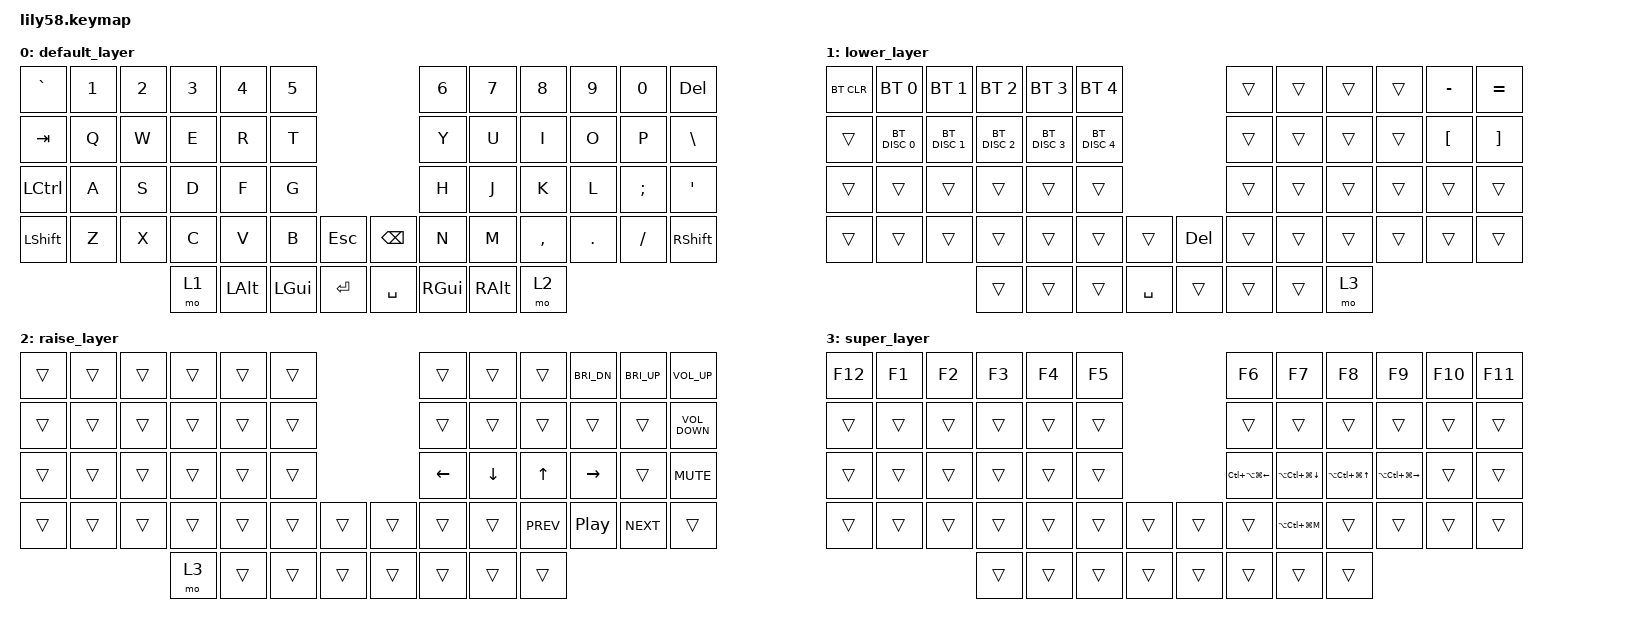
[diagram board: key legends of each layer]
/*
 * Copyright (c) 2020 The ZMK Contributors
 *
 * SPDX-License-Identifier: MIT
 */

#include <behaviors.dtsi>
#include <dt-bindings/zmk/bt.h>
#include <dt-bindings/zmk/keys.h>

/ {
    keymap {
        compatible = "zmk,keymap";

        default_layer {
            // ----------------------------------------------------------------------------------------------------
            // |   `   |  1  |  2  |   3   |  4  |  5  |                  |  6  |  7  |   8   |  9  |  0  |  DEL  |
            // |  TAB  |  Q  |  W  |   E   |  R  |  T  |                  |  Y  |  U  |   I   |  O  |  P  |   \   |
            // |  CTRL |  A  |  S  |   D   |  F  |  G  |                  |  H  |  J  |   K   |  L  |  ;  |   '   |
            // | SHIFT |  Z  |  X  |   C   |  V  |  B  |  ESC  |  |  BSPC |  N  |  M  |   ,   |  .  |  /  | SHIFT |
            //                     | LOWER | ALT | GUI | ENTER |  | SPACE | GUI | ALT | RAISE |

            bindings = <
&kp GRAVE  &kp N1  &kp N2  &kp N3  &kp N4    &kp N5                             &kp N6    &kp N7    &kp N8     &kp N9   &kp N0    &kp DEL
&kp TAB    &kp Q   &kp W   &kp E   &kp R     &kp T                              &kp Y     &kp U     &kp I      &kp O    &kp P     &kp BACKSLASH
&kp LCTRL  &kp A   &kp S   &kp D   &kp F     &kp G                              &kp H     &kp J     &kp K      &kp L    &kp SEMI  &kp SQT
&kp LSHFT  &kp Z   &kp X   &kp C   &kp V     &kp B     &kp ESCAPE    &kp BSPC   &kp N     &kp M     &kp COMMA  &kp DOT  &kp FSLH  &kp RSHFT
                           &mo 1   &kp LALT  &kp LGUI  &kp ENTER     &kp SPACE  &kp RGUI  &kp RALT  &mo 2
            >;
        };

        // ----------------------------------------------------------------------------------------------
        // | BTCLR | BT1 | BT2 | BT3 | BT4 | BT5 |                |     |     |       |     |  -  |  =  |
        // |       | BD1 | BD2 | BD3 | BD4 | BD5 |                |     |     |       |     |  [  |  ]  |
        // |       |     |     |     |     |     |                |     |     |       |     |     |     |
        // |       |     |     |     |     |     |       |  | DEL |     |     |       |     |     |     |
        //                     |     |     |     | SPACE |  |     |     |     | SUPER |

        lower_layer {
            bindings = <
&bt BT_CLR  &bt BT_SEL 0   &bt BT_SEL 1   &bt BT_SEL 2   &bt BT_SEL 3   &bt BT_SEL 4                         &trans  &trans  &trans  &trans  &kp MINUS  &kp EQUAL
&trans      &bt BT_DISC 0  &bt BT_DISC 1  &bt BT_DISC 2  &bt BT_DISC 3  &bt BT_DISC 4                        &trans  &trans  &trans  &trans  &kp LBKT   &kp RBKT
&trans      &trans         &trans         &trans         &trans         &trans                               &trans  &trans  &trans  &trans  &trans     &trans
&trans      &trans         &trans         &trans         &trans         &trans         &trans       &kp DEL  &trans  &trans  &trans  &trans  &trans     &trans
                                          &trans         &trans         &trans         &kp SPACE    &trans   &trans  &trans  &mo 3
            >;
        };

        // ------------------------------------------------------------------------------------------
        // |     |       |       |       |     |     |              |     |     |     | BRTDN | BRTUP | VUP |
        // |     |       |       |       |     |     |              |     |     |     |       |       | VDN |
        // |     |       |       |       |     |     |              | LFT | DWN |  UP |  RGT  |       | MUT |
        // |     |       |       |       |     |     |     |  |     |     |     | PRV |  PLAY |  NXT  |     |
        //                       | SUPER |     |     |     |  |     |     |     |     |

        raise_layer {
            bindings = <
&trans  &trans  &trans  &trans  &trans  &trans                    &trans    &trans    &trans      &kp C_BRI_DN  &kp C_BRI_UP  &kp C_VOL_UP
&trans  &trans  &trans  &trans  &trans  &trans                    &trans    &trans    &trans      &trans        &trans        &kp C_VOLUME_DOWN
&trans  &trans  &trans  &trans  &trans  &trans                    &kp LEFT  &kp DOWN  &kp UP      &kp RIGHT     &trans        &kp C_MUTE
&trans  &trans  &trans  &trans  &trans  &trans  &trans    &trans  &trans    &trans    &kp C_PREV  &kp C_PP      &kp C_NEXT    &trans
                        &mo 3   &trans  &trans  &trans    &trans  &trans    &trans    &trans
            >;
        };

        // ------------------------------------------------------------------------------------------
        // | F12 |  F1 |  F2 |  F3 |  F4 |  F5 |              |   F6  |   F7  |  F8  |    F9  | F10 | F11 |
        // |     |     |     |     |     |     |              |       |       |      |        |     |     |
        // |     |     |     |     |     |     |              | W_LFT | W_DWN | W_UP |  W_RGT |     |     |
        // |     |     |     |     |     |     |     |  |     |       | W_MAX |      |        |     |     |
        //                   |     |     |     |     |  |     |       |       |      |

        super_layer {
            bindings = <
&kp F12  &kp F1  &kp F2  &kp F3  &kp F4  &kp F5                    &kp F6                &kp F7                &kp F8              &kp F9                 &kp F10  &kp F11
&trans   &trans  &trans  &trans  &trans  &trans                    &trans                &trans                &trans              &trans                 &trans   &trans
&trans   &trans  &trans  &trans  &trans  &trans                    &kp LC(LA(LG(LEFT)))  &kp LA(LC(LG(DOWN)))  &kp LA(LC(LG(UP)))  &kp LA(LC(LG(RIGHT)))  &trans   &trans
&trans   &trans  &trans  &trans  &trans  &trans  &trans    &trans  &trans                &kp LA(LC(LG(M)))     &trans              &trans                 &trans   &trans
                         &trans  &trans  &trans  &trans    &trans  &trans                &trans                &trans
            >;
        };
    };
};
